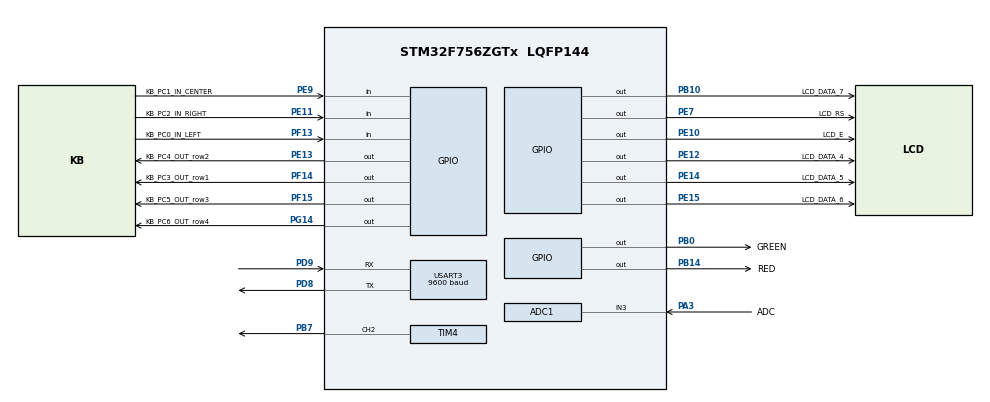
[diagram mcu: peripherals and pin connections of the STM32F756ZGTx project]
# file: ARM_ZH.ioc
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ADC1.Channel-0\#ChannelRegularConversion=ADC_CHANNEL_3
ADC1.NbrOfConversionFlag=1
ADC1.Rank-0\#ChannelRegularConversion=1
ADC1.SamplingTime-0\#ChannelRegularConversion=ADC_SAMPLETIME_3CYCLES
ADC1.master=1
Mcu.Family=STM32F7
Mcu.Name=STM32F756ZGTx
Mcu.Package=LQFP144
NVIC.PriorityGroup=NVIC_PRIORITYGROUP_4
NVIC.USART3_IRQn=true\:0\:0\:false\:false\:true\:true\:true
PA3.GPIO_Label=ADC
PA3.Signal=ADCx_IN3
PB0.GPIO_Label=GREEN
PB0.Signal=GPIO_Output
PB10.GPIO_Label=LCD_DATA_7
PB10.Signal=GPIO_Output
PB14.GPIO_Label=RED
PB14.Signal=GPIO_Output
PB7.Signal=S_TIM4_CH2
PD8.Mode=Asynchronous
PD8.Signal=USART3_TX
PD9.Mode=Asynchronous
PD9.Signal=USART3_RX
PE10.GPIO_Label=LCD_E
PE10.Signal=GPIO_Output
PE11.GPIO_Label=KB_PC2_IN_RIGHT
PE11.Signal=GPIO_Input
PE12.GPIO_Label=LCD_DATA_4
PE12.Signal=GPIO_Output
PE13.GPIO_Label=KB_PC4_OUT_row2
PE13.Signal=GPIO_Output
PE14.GPIO_Label=LCD_DATA_5
PE14.Signal=GPIO_Output
PE15.GPIO_Label=LCD_DATA_6
PE15.Signal=GPIO_Output
PE7.GPIO_Label=LCD_RS
PE7.Signal=GPIO_Output
PE9.GPIO_Label=KB_PC1_IN_CENTER
PE9.Signal=GPIO_Input
PF13.GPIO_Label=KB_PC0_IN_LEFT
PF13.Signal=GPIO_Input
PF14.GPIO_Label=KB_PC3_OUT_row1
PF14.Signal=GPIO_Output
PF15.GPIO_Label=KB_PC5_OUT_row3
PF15.Signal=GPIO_Output
PG14.GPIO_Label=KB_PC6_OUT_row4
PG14.Signal=GPIO_Output
ProjectManager.HeapSize=0x200
ProjectManager.StackSize=0x400
ProjectManager.TargetToolchain=STM32CubeIDE
RCC.HSE_VALUE=25000000
RCC.HSI_VALUE=16000000
RCC.LSE_VALUE=32768
RCC.USBFreq_Value=96000000
RCC.VCOOutputFreq_Value=192000000
SH.ADCx_IN3.0=ADC1_IN3,IN3
SH.S_TIM4_CH2.0=TIM4_CH2,PWM Generation2 CH2
TIM4.Channel-PWM\ Generation2\ CH2=TIM_CHANNEL_2
TIM4.Period=100
TIM4.Prescaler=50
TIM4.Pulse-PWM\ Generation2\ CH2=50
USART3.BaudRate=9600
USART3.VirtualMode-Asynchronous=VM_ASYNC
board=custom

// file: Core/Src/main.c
/* USER CODE BEGIN Header */
/**
  ******************************************************************************
  * @file           : main.c
  * @brief          : Main program body
  ******************************************************************************
  * @attention
  *
  * <h2><center>&copy; Copyright (c) 2021 STMicroelectronics.
  * All rights reserved.</center></h2>
  *
  * This software component is licensed by ST under BSD 3-Clause license,
  * the "License"; You may not use this file except in compliance with the
  * License. You may obtain a copy of the License at:
  *                        opensource.org/licenses/BSD-3-Clause
  *
  ******************************************************************************
  */
/* USER CODE END Header */
#include "main.h"

ADC_HandleTypeDef hadc1;

TIM_HandleTypeDef htim4;

UART_HandleTypeDef huart3;

/* USER CODE BEGIN PV */
uint8_t fogad = 0;

/* USER CODE END PV */

void SystemClock_Config(void);
static void MX_GPIO_Init(void);
static void MX_ADC1_Init(void);
static void MX_USART3_UART_Init(void);
static void MX_TIM4_Init(void);

int main(void)
{

  /* MCU Configuration--------------------------------------------------------*/

  /* Reset of all peripherals, Initializes the Flash interface and the Systick. */
  HAL_Init();

  /* Configure the system clock */
  SystemClock_Config();

  /* Initialize all configured peripherals */
  MX_GPIO_Init();
  MX_ADC1_Init();
  MX_USART3_UART_Init();
  MX_TIM4_Init();
  /* USER CODE BEGIN 2 */
  HAL_TIM_PWM_Start(&htim4, TIM_CHANNEL_2);
  uint8_t uart_menu[] = {"0 -> 0%\n\r1 -> 20%\n\r2 -> 40%\n\r3 -> 60%\n\r4 -> 80% \n\r5 -> 100%\n\r"};
  HAL_UART_Transmit(&huart3, uart_menu, sizeof(uart_menu), HAL_MAX_DELAY);
  /* USER CODE END 2 */

  /* Infinite loop */
  /* USER CODE BEGIN WHILE */
  while (1)
  {
	  HAL_UART_Receive(&huart3, &fogad, sizeof(fogad), HAL_MAX_DELAY);

	  switch(fogad-48)
	  {
	  case 0:
		  __HAL_TIM_SET_COMPARE(&htim4,TIM_CHANNEL_2,0);
		  break;
	  case 1:
		  __HAL_TIM_SET_COMPARE(&htim4,TIM_CHANNEL_2,20);
		  break;
	  case 2:
		  __HAL_TIM_SET_COMPARE(&htim4,TIM_CHANNEL_2,40);
		  break;
	  case 3:
		  __HAL_TIM_SET_COMPARE(&htim4,TIM_CHANNEL_2,60);
		  break;
	  case 4:
		  __HAL_TIM_SET_COMPARE(&htim4,TIM_CHANNEL_2,80);
		  break;
	  case 5:
		  __HAL_TIM_SET_COMPARE(&htim4,TIM_CHANNEL_2,100);
		  break;
	  }
    /* USER CODE END WHILE */

  }
}

void SystemClock_Config(void)
{
  RCC_OscInitTypeDef RCC_OscInitStruct = {0};
  RCC_ClkInitTypeDef RCC_ClkInitStruct = {0};
  RCC_PeriphCLKInitTypeDef PeriphClkInitStruct = {0};

  /** Configure the main internal regulator output voltage
  */
  __HAL_RCC_PWR_CLK_ENABLE();
  __HAL_PWR_VOLTAGESCALING_CONFIG(PWR_REGULATOR_VOLTAGE_SCALE3);
  /** Initializes the RCC Oscillators according to the specified parameters
  * in the RCC_OscInitTypeDef structure.
  */
  RCC_OscInitStruct.OscillatorType = RCC_OSCILLATORTYPE_HSI;
  RCC_OscInitStruct.HSIState = RCC_HSI_ON;
  RCC_OscInitStruct.HSICalibrationValue = RCC_HSICALIBRATION_DEFAULT;
  RCC_OscInitStruct.PLL.PLLState = RCC_PLL_NONE;
  if (HAL_RCC_OscConfig(&RCC_OscInitStruct) != HAL_OK)
  {
    Error_Handler();
  }
  /** Initializes the CPU, AHB and APB buses clocks
  */
  RCC_ClkInitStruct.ClockType = RCC_CLOCKTYPE_HCLK|RCC_CLOCKTYPE_SYSCLK
                              |RCC_CLOCKTYPE_PCLK1|RCC_CLOCKTYPE_PCLK2;
  RCC_ClkInitStruct.SYSCLKSource = RCC_SYSCLKSOURCE_HSI;
  RCC_ClkInitStruct.AHBCLKDivider = RCC_SYSCLK_DIV1;
  RCC_ClkInitStruct.APB1CLKDivider = RCC_HCLK_DIV1;
  RCC_ClkInitStruct.APB2CLKDivider = RCC_HCLK_DIV1;

  if (HAL_RCC_ClockConfig(&RCC_ClkInitStruct, FLASH_LATENCY_0) != HAL_OK)
  {
    Error_Handler();
  }
  PeriphClkInitStruct.PeriphClockSelection = RCC_PERIPHCLK_USART3;
  PeriphClkInitStruct.Usart3ClockSelection = RCC_USART3CLKSOURCE_PCLK1;
  if (HAL_RCCEx_PeriphCLKConfig(&PeriphClkInitStruct) != HAL_OK)
  {
    Error_Handler();
  }
}

static void MX_ADC1_Init(void)
{

  ADC_ChannelConfTypeDef sConfig = {0};

  /** Configure the global features of the ADC (Clock, Resolution, Data Alignment and number of conversion)
  */
  hadc1.Instance = ADC1;
  hadc1.Init.ClockPrescaler = ADC_CLOCK_SYNC_PCLK_DIV2;
  hadc1.Init.Resolution = ADC_RESOLUTION_12B;
  hadc1.Init.ScanConvMode = ADC_SCAN_DISABLE;
  hadc1.Init.ContinuousConvMode = DISABLE;
  hadc1.Init.DiscontinuousConvMode = DISABLE;
  hadc1.Init.ExternalTrigConvEdge = ADC_EXTERNALTRIGCONVEDGE_NONE;
  hadc1.Init.ExternalTrigConv = ADC_SOFTWARE_START;
  hadc1.Init.DataAlign = ADC_DATAALIGN_RIGHT;
  hadc1.Init.NbrOfConversion = 1;
  hadc1.Init.DMAContinuousRequests = DISABLE;
  hadc1.Init.EOCSelection = ADC_EOC_SINGLE_CONV;
  if (HAL_ADC_Init(&hadc1) != HAL_OK)
  {
    Error_Handler();
  }
  /** Configure for the selected ADC regular channel its corresponding rank in the sequencer and its sample time.
  */
  sConfig.Channel = ADC_CHANNEL_3;
  sConfig.Rank = ADC_REGULAR_RANK_1;
  sConfig.SamplingTime = ADC_SAMPLETIME_3CYCLES;
  if (HAL_ADC_ConfigChannel(&hadc1, &sConfig) != HAL_OK)
  {
    Error_Handler();
  }

}

static void MX_TIM4_Init(void)
{

  TIM_MasterConfigTypeDef sMasterConfig = {0};
  TIM_OC_InitTypeDef sConfigOC = {0};

  htim4.Instance = TIM4;
  htim4.Init.Prescaler = 50;
  htim4.Init.CounterMode = TIM_COUNTERMODE_UP;
  htim4.Init.Period = 100;
  htim4.Init.ClockDivision = TIM_CLOCKDIVISION_DIV1;
  htim4.Init.AutoReloadPreload = TIM_AUTORELOAD_PRELOAD_DISABLE;
  if (HAL_TIM_PWM_Init(&htim4) != HAL_OK)
  {
    Error_Handler();
  }
  sMasterConfig.MasterOutputTrigger = TIM_TRGO_RESET;
  sMasterConfig.MasterSlaveMode = TIM_MASTERSLAVEMODE_DISABLE;
  if (HAL_TIMEx_MasterConfigSynchronization(&htim4, &sMasterConfig) != HAL_OK)
  {
    Error_Handler();
  }
  sConfigOC.OCMode = TIM_OCMODE_PWM1;
  sConfigOC.Pulse = 50;
  sConfigOC.OCPolarity = TIM_OCPOLARITY_HIGH;
  sConfigOC.OCFastMode = TIM_OCFAST_DISABLE;
  if (HAL_TIM_PWM_ConfigChannel(&htim4, &sConfigOC, TIM_CHANNEL_2) != HAL_OK)
  {
    Error_Handler();
  }
  HAL_TIM_MspPostInit(&htim4);

}

static void MX_USART3_UART_Init(void)
{

  huart3.Instance = USART3;
  huart3.Init.BaudRate = 9600;
  huart3.Init.WordLength = UART_WORDLENGTH_8B;
  huart3.Init.StopBits = UART_STOPBITS_1;
  huart3.Init.Parity = UART_PARITY_NONE;
  huart3.Init.Mode = UART_MODE_TX_RX;
  huart3.Init.HwFlowCtl = UART_HWCONTROL_NONE;
  huart3.Init.OverSampling = UART_OVERSAMPLING_16;
  huart3.Init.OneBitSampling = UART_ONE_BIT_SAMPLE_DISABLE;
  huart3.AdvancedInit.AdvFeatureInit = UART_ADVFEATURE_NO_INIT;
  if (HAL_UART_Init(&huart3) != HAL_OK)
  {
    Error_Handler();
  }

}

static void MX_GPIO_Init(void)
{
  GPIO_InitTypeDef GPIO_InitStruct = {0};

  /* GPIO Ports Clock Enable */
  __HAL_RCC_GPIOA_CLK_ENABLE();
  __HAL_RCC_GPIOB_CLK_ENABLE();
  __HAL_RCC_GPIOF_CLK_ENABLE();
  __HAL_RCC_GPIOE_CLK_ENABLE();
  __HAL_RCC_GPIOD_CLK_ENABLE();
  __HAL_RCC_GPIOG_CLK_ENABLE();

  /*Configure GPIO pin Output Level */
  HAL_GPIO_WritePin(GPIOB, GREEN_Pin|LCD_DATA_7_Pin|RED_Pin, GPIO_PIN_RESET);

  /*Configure GPIO pin Output Level */
  HAL_GPIO_WritePin(GPIOF, KB_PC3_OUT_row1_Pin|KB_PC5_OUT_row3_Pin, GPIO_PIN_RESET);

  /*Configure GPIO pin Output Level */
  HAL_GPIO_WritePin(GPIOE, LCD_RS_Pin|LCD_E_Pin|LCD_DATA_4_Pin|KB_PC4_OUT_row2_Pin
                          |LCD_DATA_5_Pin|LCD_DATA_6_Pin, GPIO_PIN_RESET);

  /*Configure GPIO pin Output Level */
  HAL_GPIO_WritePin(KB_PC6_OUT_row4_GPIO_Port, KB_PC6_OUT_row4_Pin, GPIO_PIN_RESET);

  /*Configure GPIO pins : GREEN_Pin LCD_DATA_7_Pin RED_Pin */
  GPIO_InitStruct.Pin = GREEN_Pin|LCD_DATA_7_Pin|RED_Pin;
  GPIO_InitStruct.Mode = GPIO_MODE_OUTPUT_PP;
  GPIO_InitStruct.Pull = GPIO_NOPULL;
  GPIO_InitStruct.Speed = GPIO_SPEED_FREQ_LOW;
  HAL_GPIO_Init(GPIOB, &GPIO_InitStruct);

  /*Configure GPIO pin : KB_PC0_IN_LEFT_Pin */
  GPIO_InitStruct.Pin = KB_PC0_IN_LEFT_Pin;
  GPIO_InitStruct.Mode = GPIO_MODE_INPUT;
  GPIO_InitStruct.Pull = GPIO_NOPULL;
  HAL_GPIO_Init(KB_PC0_IN_LEFT_GPIO_Port, &GPIO_InitStruct);

  /*Configure GPIO pins : KB_PC3_OUT_row1_Pin KB_PC5_OUT_row3_Pin */
  GPIO_InitStruct.Pin = KB_PC3_OUT_row1_Pin|KB_PC5_OUT_row3_Pin;
  GPIO_InitStruct.Mode = GPIO_MODE_OUTPUT_PP;
  GPIO_InitStruct.Pull = GPIO_NOPULL;
  GPIO_InitStruct.Speed = GPIO_SPEED_FREQ_LOW;
  HAL_GPIO_Init(GPIOF, &GPIO_InitStruct);

  /*Configure GPIO pins : LCD_RS_Pin LCD_E_Pin LCD_DATA_4_Pin KB_PC4_OUT_row2_Pin
                           LCD_DATA_5_Pin LCD_DATA_6_Pin */
  GPIO_InitStruct.Pin = LCD_RS_Pin|LCD_E_Pin|LCD_DATA_4_Pin|KB_PC4_OUT_row2_Pin
                          |LCD_DATA_5_Pin|LCD_DATA_6_Pin;
  GPIO_InitStruct.Mode = GPIO_MODE_OUTPUT_PP;
  GPIO_InitStruct.Pull = GPIO_NOPULL;
  GPIO_InitStruct.Speed = GPIO_SPEED_FREQ_LOW;
  HAL_GPIO_Init(GPIOE, &GPIO_InitStruct);

  /*Configure GPIO pins : KB_PC1_IN_CENTER_Pin KB_PC2_IN_RIGHT_Pin */
  GPIO_InitStruct.Pin = KB_PC1_IN_CENTER_Pin|KB_PC2_IN_RIGHT_Pin;
  GPIO_InitStruct.Mode = GPIO_MODE_INPUT;
  GPIO_InitStruct.Pull = GPIO_NOPULL;
  HAL_GPIO_Init(GPIOE, &GPIO_InitStruct);

  /*Configure GPIO pin : KB_PC6_OUT_row4_Pin */
  GPIO_InitStruct.Pin = KB_PC6_OUT_row4_Pin;
  GPIO_InitStruct.Mode = GPIO_MODE_OUTPUT_PP;
  GPIO_InitStruct.Pull = GPIO_NOPULL;
  GPIO_InitStruct.Speed = GPIO_SPEED_FREQ_LOW;
  HAL_GPIO_Init(KB_PC6_OUT_row4_GPIO_Port, &GPIO_InitStruct);

}

void Error_Handler(void)
{
  __disable_irq();
  while (1)
  {
  }
}

/************************ (C) COPYRIGHT STMicroelectronics *****END OF FILE****/
